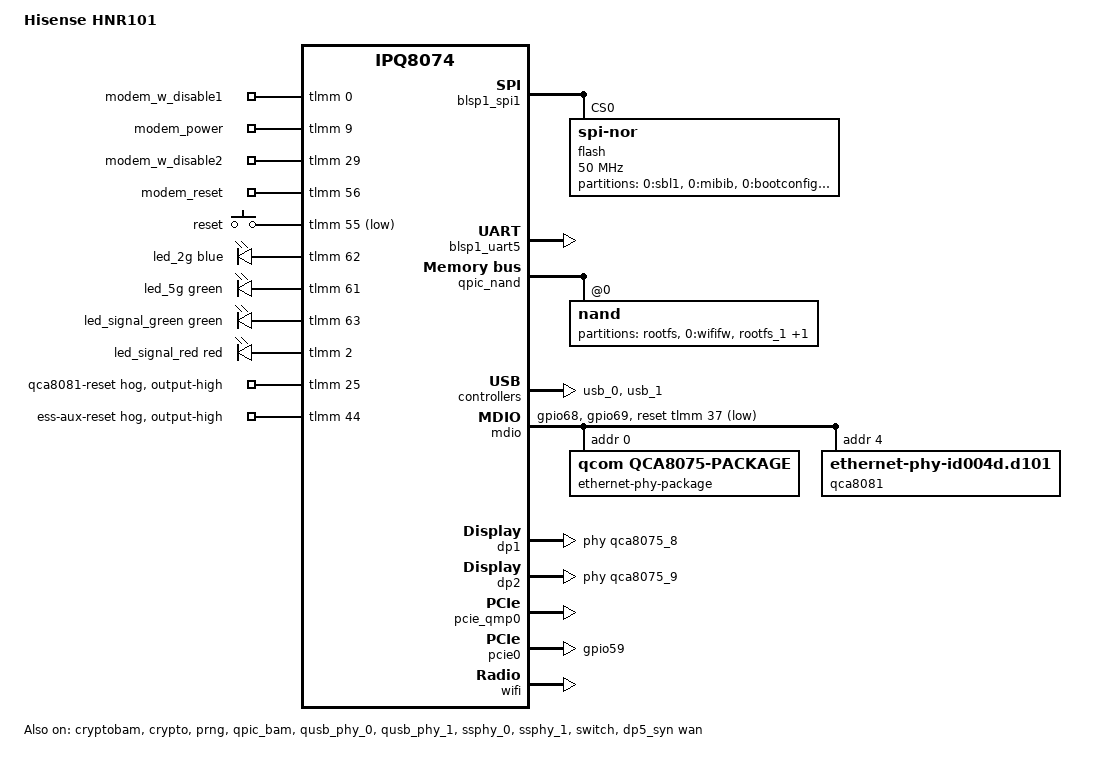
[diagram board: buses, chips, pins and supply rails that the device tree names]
// SPDX-License-Identifier: GPL-2.0-or-later OR MIT
/*
 * Hisense HNR101 (IPQ8072A, Qualcomm AP-HK09 reference design)
 *
 * Hardware summary (from stock QSDK firmware / decompiled DTS):
 *  - SoC:        Qualcomm IPQ8072A (4x Cortex-A53, NSS accelerated)
 *  - RAM:        1 GiB DDR4
 *  - NAND:       256 MiB QPIC NAND (stock A/B layout: rootfs / rootfs_1 / 2x WIFIFW)
 *  - NOR:        8 MiB BLSP SPI NOR (full Qualcomm boot chain + 0:art + 0:ethphyfw)
 *  - Ethernet:       Uniphy0 PSGMII -> QCA8075 @ mdio 8/9/10/11 (ESS ports 1-4)
 *                Uniphy1 SGMII+ -> QCA8081 @ mdio 4 (ESS port 5, QGMAC)
 *                Stock ESS: lan_bmp = ports1-5 (0x3e), wan_bmp = port6 (0x40)
 *                Stock QSDK NSS-DP: only MAC IDs 1, 2 and 5 are instantiated.
 *  - WiFi:       IPQ8072A built-in ath11k
 *  - M.2 USB:    usb_0 (usb@8af8800)
 *  - M.2 PCIE:   pcie0 (gen3, perst GPIO 58 and wake GPIO 59) is enabled.
 *  - M.2 GPIO:   GPIO 0, 9, 29, 56
 *  - USB:        usb_1 (usb@8cf8800)
 *  - UART:       blsp1_uart5 @ 0x78b3000, 115200n8 (TTL console)
 *  - Button:     reset, GPIO 55
 *  - LEDs:       led_2g=GPIO 62, led_5g=GPIO 61, led_signal_green=GPIO 63,
 *                led_signal_red=GPIO 2
 */

/dts-v1/;

#include "ipq8074.dtsi"
#include "ipq8074-ess.dtsi"
#include "ipq8074-nss.dtsi"
#include "ipq8074-hk-cpu.dtsi"

#include <dt-bindings/gpio/gpio.h>
#include <dt-bindings/input/input.h>
#include <dt-bindings/leds/common.h>

/ {
	model = "Hisense HNR101";
	compatible = "hisense,hnr101", "qcom,ipq8074";

	aliases {
		ethernet0 = &dp1;
		ethernet1 = &dp2;
		ethernet2 = &dp3;
		ethernet3 = &dp4;
		ethernet4 = &dp5_syn;

		label-mac-device = &dp1;

		led-boot = &led_signal_green;
		led-failsafe = &led_signal_red;
		led-running = &led_signal_green;
		led-upgrade = &led_signal_red;
		serial0 = &blsp1_uart5;
	};

	chosen {
		stdout-path = "serial0:115200n8";
		bootargs-append = " root=/dev/ubiblock0_1";
	};

	modem {
		compatible = "gpio-export";
		pinctrl-names = "default";
		pinctrl-0 = <&modem_pins>;

		/* GPIO 0: W_DISABLE1 <--> M.2 Pin 8 */
		modem-w-disable1 {
			gpio-export,name = "modem_w_disable1";
			gpio-export,output = <1>;
			gpios = <&tlmm 0 GPIO_ACTIVE_HIGH>;
		};

		/* GPIO 9: FULL_CARD_POWER_OFF <--> M.2 Pin 6 */
		modem-power {
			gpio-export,name = "modem_power";
			gpio-export,output = <1>;
			gpios = <&tlmm 9 GPIO_ACTIVE_HIGH>;
		};

		/* GPIO 29: W_DISABLE2 <--> M.2 Pin 26 */
		modem-w-disable2 {
			gpio-export,name = "modem_w_disable2";
			gpio-export,output = <1>;
			gpios = <&tlmm 29 GPIO_ACTIVE_HIGH>;
		};

		/* GPIO 56: RESET <--> M.2 Pin 67 */
		modem-reset {
			gpio-export,name = "modem_reset";
			gpio-export,output = <1>;
			gpios = <&tlmm 56 GPIO_ACTIVE_HIGH>;
		};
	};

	keys {
		compatible = "gpio-keys";
		pinctrl-0 = <&button_pins>;
		pinctrl-names = "default";

		reset {
			label = "reset";
			linux,code = <KEY_RESTART>;
			gpios = <&tlmm 55 GPIO_ACTIVE_LOW>;
		};
	};

	leds {
		compatible = "gpio-leds";

		led_2g {
			color = <LED_COLOR_ID_BLUE>;
			function = LED_FUNCTION_WLAN;
			gpios = <&tlmm 62 GPIO_ACTIVE_HIGH>;
		};

		led_5g {
			color = <LED_COLOR_ID_GREEN>;
			function = LED_FUNCTION_WLAN;
			gpios = <&tlmm 61 GPIO_ACTIVE_HIGH>;
		};

		led_signal_green: signal_green {
			color = <LED_COLOR_ID_GREEN>;
			function = "signal";
			gpios = <&tlmm 63 GPIO_ACTIVE_HIGH>;
		};

		led_signal_red: signal_red {
			color = <LED_COLOR_ID_RED>;
			function = "signal";
			gpios = <&tlmm 2 GPIO_ACTIVE_HIGH>;
		};
	};
};

&tlmm {
	mdio_pins: mdio-pins {
		mdc {
			pins = "gpio68";
			function = "mdc";
			drive-strength = <8>;
			bias-pull-up;
		};

		mdio {
			pins = "gpio69";
			function = "mdio";
			drive-strength = <8>;
			bias-pull-up;
		};
	};

	button_pins: button-pins {
		bias-pull-up;
		drive-strength = <8>;
		function = "gpio";
		pins = "gpio55";
	};

	modem_pins: modem-pins {
		modem_w_disable1 {
			bias-pull-up;
			drive-strength = <8>;
			output-high;
			pins = "gpio0";
		};

		modem_power {
			bias-pull-up;
			drive-strength = <8>;
			output-high;
			pins = "gpio9";
		};

		modem_w_disable2 {
			bias-pull-up;
			drive-strength = <8>;
			output-high;
			pins = "gpio29";
		};

		modem_reset {
			bias-pull-up;
			drive-strength = <8>;
			output-high;
			pins = "gpio56";
		};
	};

	pcie0_default_state: pcie0-wake-gpio {
		bias-pull-down;
		drive-strength = <8>;
		function = "pcie0_wake";
		pins = "gpio59";
	};

	phy_rst_25: qca8081-reset {
		gpio-hog;
		gpios = <25 GPIO_ACTIVE_HIGH>;
		output-high;
		line-name = "qca8081-reset";
	};

	phy_rst_44: ess-aux-reset {
		gpio-hog;
		gpios = <44 GPIO_ACTIVE_HIGH>;
		output-high;
		line-name = "ess-aux-reset";
	};

};

&blsp1_spi1 {
	status = "okay";

	flash@0 {
		reg = <0>;
		compatible = "jedec,spi-nor";
		spi-max-frequency = <50000000>;

		partitions {
			compatible = "fixed-partitions";
			#address-cells = <1>;
			#size-cells = <1>;

			partition@0 {
				label = "0:sbl1";
				reg = <0x0 0x50000>;
				read-only;
			};

			partition@50000 {
				label = "0:mibib";
				reg = <0x50000 0x10000>;
				read-only;
			};

			partition@60000 {
				label = "0:bootconfig";
				reg = <0x60000 0x20000>;
				read-only;
			};

			partition@80000 {
				label = "0:bootconfig1";
				reg = <0x80000 0x20000>;
				read-only;
			};

			partition@a0000 {
				label = "0:qsee";
				reg = <0xa0000 0x180000>;
				read-only;
			};

			partition@220000 {
				label = "0:qsee_1";
				reg = <0x220000 0x180000>;
				read-only;
			};

			partition@3a0000 {
				label = "0:devcfg";
				reg = <0x3a0000 0x10000>;
				read-only;
			};

			partition@3b0000 {
				label = "0:devcfg_1";
				reg = <0x3b0000 0x10000>;
				read-only;
			};

			partition@3c0000 {
				label = "0:apdp";
				reg = <0x3c0000 0x10000>;
				read-only;
			};

			partition@3d0000 {
				label = "0:apdp_1";
				reg = <0x3d0000 0x10000>;
				read-only;
			};

			partition@3e0000 {
				label = "0:rpm";
				reg = <0x3e0000 0x40000>;
				read-only;
			};

			partition@420000 {
				label = "0:rpm_1";
				reg = <0x420000 0x40000>;
				read-only;
			};

			partition@460000 {
				label = "0:cdt";
				reg = <0x460000 0x10000>;
				read-only;
			};

			partition@470000 {
				label = "0:cdt_1";
				reg = <0x470000 0x10000>;
				read-only;
			};

			partition@480000 {
				label = "0:appsblenv";
				reg = <0x480000 0x10000>;

				nvmem-layout {
					compatible = "u-boot,env";
				};
			};

			partition@490000 {
				label = "0:appsbl";
				reg = <0x490000 0xa0000>;
				read-only;
			};

			partition@530000 {
				label = "0:appsbl_1";
				reg = <0x530000 0xa0000>;
				read-only;
			};

			/* default empty! */
			partition@5d0000 {
				label = "0:art";
				reg = <0x5d0000 0x40000>;
				read-only;
			};

			partition@610000 {
				label = "0:ethphyfw";
				reg = <0x610000 0x80000>;
				read-only;
			};
		};
	};
};

&blsp1_uart5 {
	status = "okay";
};

&cryptobam {
	status = "okay";
};

&crypto {
	status = "okay";
};

&prng {
	status = "okay";
};

&qpic_bam {
	status = "okay";
};

&qpic_nand {
	status = "okay";

	nand@0 {
		reg = <0>;
		/* MT29F2G08ABBGAH4 requires 8b/512B ECC; the 8-bit layout
		 * (cw 532 / page stride 2128 = QSDK "oobsize 80") is also what
		 * the stock U-Boot writes, so it must be used here. */
		nand-ecc-strength = <8>;
		nand-ecc-step-size = <512>;
		nand-bus-width = <8>;

		partitions {
			compatible = "fixed-partitions";
			#address-cells = <1>;
			#size-cells = <1>;

			/* 110 MiB, OpenWrt UBI image */
			partition@0 {
				label = "rootfs";
				reg = <0x0 0x6e00000>;
			};

			partition@6e00000 {
				label = "0:wififw";
				reg = <0x6e00000 0x800000>;
				read-only;
			};

			/* 110 MiB, stock firmware A/B copy */
			partition@7600000 {
				label = "rootfs_1";
				reg = <0x7600000 0x6e00000>;
			};

			partition@e400000 {
				label = "0:wififw_1";
				reg = <0xe400000 0x800000>;
				read-only;
			};
		};
	};
};

&qusb_phy_0 {
	status = "okay";
};

&qusb_phy_1 {
	status = "okay";
};

&ssphy_0 {
	status = "okay";
};

&ssphy_1 {
	status = "okay";
};

&usb_0 {
	status = "okay";
};

&usb_1 {
	status = "okay";
};

&mdio {
	status = "okay";

	pinctrl-0 = <&mdio_pins>;
	pinctrl-names = "default";

	reset-gpios = <&tlmm 37 GPIO_ACTIVE_LOW>;
	reset-delay-us = <10000>;
	reset-post-delay-us = <200000>;

	ethernet-phy-package@0 {
		compatible = "qcom,qca8075-package";
		#address-cells = <1>;
		#size-cells = <0>;
		reg = <0>;
		qcom,package-mode = "psgmii";

		qca8075_8: ethernet-phy@8 {
			compatible = "ethernet-phy-ieee802.3-c22";
			reg = <8>;
		};

		qca8075_9: ethernet-phy@9 {
			compatible = "ethernet-phy-ieee802.3-c22";
			reg = <9>;
		};

		qca8075_10: ethernet-phy@10 {
			compatible = "ethernet-phy-ieee802.3-c22";
			reg = <10>;
		};

		qca8075_11: ethernet-phy@11 {
			compatible = "ethernet-phy-ieee802.3-c22";
			reg = <11>;
		};
	};

	qca8081: ethernet-phy@4 {
		compatible = "ethernet-phy-id004d.d101";
		reg = <4>;
	};
};


&switch {
	status = "okay";

	switch_lan_bmp = <(ESS_PORT1 | ESS_PORT2 | ESS_PORT3 | ESS_PORT4 | ESS_PORT5)>;
	switch_wan_bmp = <ESS_PORT6>;
	switch_mac_mode = <MAC_MODE_PSGMII>;
	switch_mac_mode1 = <MAC_MODE_SGMII_CHANNEL0>;

	qcom,port_phyinfo {
		port@1 {
			port_id = <1>;
			phy_address = <8>;
		};

		port@2 {
			port_id = <2>;
			phy_address = <9>;
		};

		port@3 {
			port_id = <3>;
			phy_address = <10>;
		};

		port@4 {
			port_id = <4>;
			phy_address = <11>;
		};

		port@5 {
			port_id = <5>;
			phy_address = <4>;
			port_mac_sel = "QGMAC_PORT";
		};
	};
};

&edma {
	status = "okay";
};

&dp1 {
	status = "okay";
	phy-handle = <&qca8075_8>;
	label = "lan1";
	mac-address = [00 03 7f ba db ad];
};

&dp2 {
	status = "okay";
	phy-handle = <&qca8075_9>;
	label = "lan2";
	mac-address = [00 03 7f ba db ae];
};

&dp3 {
	status = "disabled";
};

&dp4 {
	status = "disabled";
};

&dp5 {
	status = "disabled";
};

&dp5_syn {
	status = "okay";
	phy-handle = <&qca8081>;
	label = "wan";
	mac-address = [00 03 7f ba db af];
};

&pcie_qmp0 {
	status = "okay";
};

&pcie0 {
	status = "okay";
	pinctrl-0 = <&pcie0_default_state>;
	pinctrl-names = "default";
	perst-gpios = <&tlmm 58 GPIO_ACTIVE_LOW>;
};

&wifi {
	status = "okay";
	qcom,ath11k-calibration-variant = "Hisense-HNR101";
};
